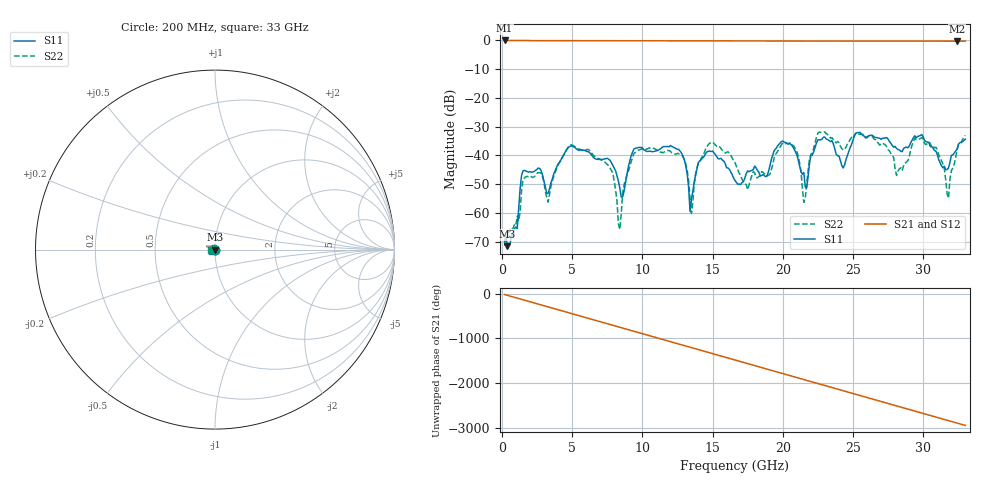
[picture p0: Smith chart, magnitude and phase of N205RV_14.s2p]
# GHZ S RI R 50
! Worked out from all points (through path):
!   329 points, 200 MHz to 33 GHz, reference 50 ohm
!   highest |S21| = -0.02 dB at 200 MHz (marker M1); lowest = -0.3 dB at 32.4 GHz (marker M2)
!   group delay of S21, straight-line fit = 248 ps
!   lowest |S11| = -71.6 dB at 400 MHz (marker M3), VSWR 1.00, Z = 50 + j4.03e-05 ohm
!   |S11| at or under -10 dB: start of sweep to end of sweep
!   |S22| runs from -71.3 to -31.8 dB; largest |S21 - S12| = 0.0019
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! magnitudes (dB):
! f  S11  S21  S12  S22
! 200 MHz  -69.8  0.0  0.0  -71.3
! 400 MHz  -71.6  0.0  0.0  -66.4
! 1.5 GHz  -45.5  -0.1  -0.1  -48.5
! 3.3 GHz  -53.1  -0.1  -0.1  -56.3
! 5.7 GHz  -38.2  -0.1  -0.1  -38.1
! 7.9 GHz  -43.4  -0.1  -0.1  -46.1
! 8.4 GHz  -51.3  -0.1  -0.1  -65.8
! 9.4 GHz  -37.8  -0.1  -0.1  -39.3
! 11.2 GHz  -38.0  -0.1  -0.1  -38.7
! 12.9 GHz  -40.3  -0.2  -0.2  -40.4
! 13.5 GHz  -55.1  -0.2  -0.2  -60.2
! 14.7 GHz  -38.5  -0.2  -0.2  -36.2
! 16.6 GHz  -48.7  -0.2  -0.2  -42.5
! 17.5 GHz  -45.4  -0.2  -0.2  -51.9
! 20.5 GHz  -35.8  -0.2  -0.2  -35.6
! 21.5 GHz  -45.9  -0.2  -0.2  -56.3
! 22.1 GHz  -40.0  -0.2  -0.2  -39.3
! 27.6 GHz  -35.2  -0.2  -0.2  -38.4
! 30.9 GHz  -38.5  -0.3  -0.3  -37.2
! 31.8 GHz  -44.3  -0.3  -0.3  -54.8
! 32.4 GHz  -37.8  -0.3  -0.3  -38.4
! 33 GHz  -34.3  -0.3  -0.3  -33.0
